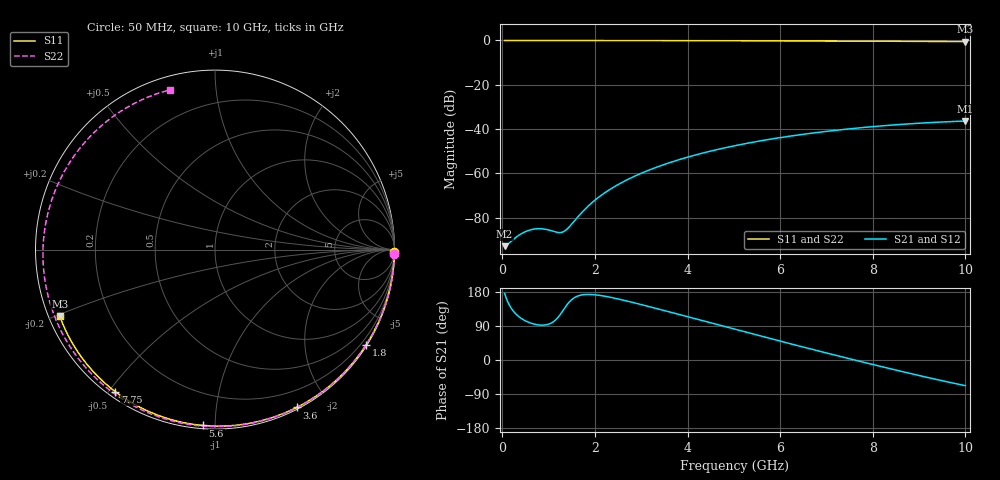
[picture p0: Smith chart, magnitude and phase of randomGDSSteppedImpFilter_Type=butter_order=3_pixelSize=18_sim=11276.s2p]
! freq	dB(S11)	phase(S11)	dB(S12)	phase(S12)
!  dB(S21)	phase(S21)	dB(S22)	phase(S22)
!S-par simulation data
#  GHz  S  DB  R 50
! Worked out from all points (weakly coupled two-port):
!   200 points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, 50 MHz to 10 GHz, reference 50 ohm
!   highest |S21| = -36.38 dB at 10 GHz (marker M1); lowest = -92.9 dB at 50 MHz (marker M2)
!   lowest |S11| = -0.5 dB at 10 GHz (marker M3), VSWR 32.91, Z = 1.58 - j10.2 ohm
!   |S11| at or under -10 dB: nowhere
!   |S22| runs from -0.7 to 0.0 dB; largest |S21 - S12| = 0
!   S11 on the Smith chart (normalised r, x): 50 MHz: open; 1.8 GHz: 0.03, -3.47; 3.6 GHz: 0.02, -1.64; 5.6 GHz: 0.02, -0.93; 7.75 GHz: 0.02, -0.52; 10 GHz: 0.03, -0.20
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0.05  -0.00 -0.9  -92.88 176.2  -92.88 176.2  -0.00 -1.4
0.8  -0.02 -14.5  -84.98 92.3  -84.98 92.3  -0.02 -21.8
1.6  -0.04 -28.7  -80.43 167.3  -80.43 167.3  -0.05 -43.0
1.75  -0.04 -31.3  -76.94 172.4  -76.94 172.4  -0.06 -46.9
1.8  -0.04 -32.2  -75.88 172.9  -75.88 172.9  -0.06 -48.2
2.1  -0.05 -37.4  -70.48 170.6  -70.48 170.6  -0.07 -55.9
2.45  -0.06 -43.4  -65.67 162.5  -65.67 162.5  -0.08 -64.8
2.9  -0.07 -51.0  -60.88 149.3  -60.88 149.3  -0.10 -75.9
3.4  -0.08 -59.4  -56.70 133.6  -56.70 133.6  -0.11 -88.0
3.6  -0.08 -62.6  -55.26 127.2  -55.26 127.2  -0.12 -92.8
4.3  -0.11 -73.9  -50.99 104.5  -50.99 104.5  -0.15 -109.0
5.05  -0.13 -85.6  -47.40 80.2  -47.40 80.2  -0.19 -126.1
5.6  -0.16 -93.9  -45.24 62.6  -45.24 62.6  -0.22 -138.4
6.15  -0.18 -102.1  -43.39 45.1  -43.39 45.1  -0.26 -150.9
6.7  -0.22 -110.1  -41.81 27.8  -41.81 27.8  -0.30 -163.5
7.25  -0.25 -117.9  -40.45 10.8  -40.45 10.8  -0.35 -176.5
7.75  -0.29 -125.0  -39.38 -4.4  -39.38 -4.4  -0.41 171.2
8.35  -0.34 -133.5  -38.30 -22.2  -38.30 -22.2  -0.47 155.6
8.75  -0.38 -139.1  -37.69 -33.9  -37.69 -33.9  -0.52 144.5
9.15  -0.43 -144.7  -37.18 -45.2  -37.18 -45.2  -0.57 132.8
9.6  -0.48 -151.1  -36.71 -57.4  -36.71 -57.4  -0.63 118.8
10  -0.53 -156.8  -36.38 -67.8  -36.38 -67.8  -0.68 105.6
